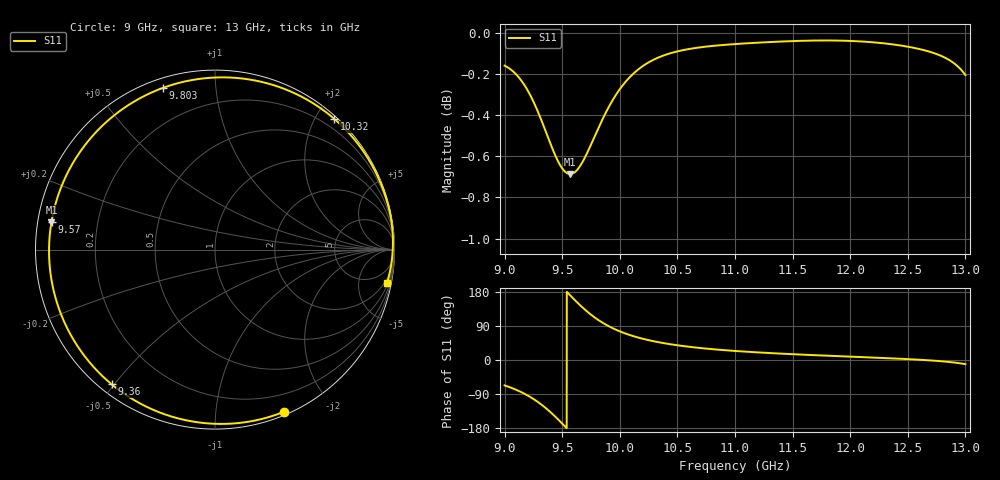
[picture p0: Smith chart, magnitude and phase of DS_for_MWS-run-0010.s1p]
! TOUCHSTONE file generated by CST DESIGN STUDIO
! Date and time: Tue Feb  4 15:43:13 2025
! Project name: C:\Work\MatlabApps\UnitCellOptimizationMatlab\CST\unitcell.cst
! Tree item: Tasks\Sweep1\SPara1\S-Parameters
! Header version: 2024
! Port assignment regex: !\s*Touchstone port\s*([0-9]+)\s*=\s*(CST MWS port|CST DES external port|CST DES block port)\s*(.+)\s* \(\"(.*)\"\)(\s*mode\s*([0-9]+))?.*
! Touchstone port assignment:
! Touchstone port 1 = CST DES external port 1 ("")
# GHz S MA R 50
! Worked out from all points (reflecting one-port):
!   4001 points, 9 GHz to 13 GHz, reference 50 ohm
!   lowest |S11| = -0.7 dB at 9.569 GHz (marker M1), VSWR 25.33, Z = 1.99 + j4.11 ohm
!   phase of S11 starts at -67 deg and turns -304 deg over the sweep
!   S11 on the Smith chart (normalised r, x): 9 GHz: 0.03, -1.51; 9.36 GHz: 0.03, -0.49; 9.57 GHz: 0.04, +0.08; 9.803 GHz: 0.04, +0.73; 10.32 GHz: 0.04, +2.26; 13 GHz: 1, -10
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9  0.9818 -67.0
9.103  0.9769 -79.0
9.214  0.9668 -96.1
9.291  0.9566 -111.3
9.36  0.9459 -127.5
9.426  0.9357 -145.5
9.464  0.9307 -156.7
9.5  0.927 -167.7
9.535  0.9248 -178.7
9.569  0.924 170.6
9.57  0.924 170.3
9.625  0.9259 153.4
9.689  0.9317 135.1
9.745  0.9387 120.8
9.803  0.9466 107.7
9.89  0.9578 91.4
10  0.969 75.6
10.071  0.9745 67.5
10.148  0.9792 60.2
10.323  0.986 47.7
10.5  0.9897 38.8
10.72  0.9921 31.0
11  0.9938 23.9
11.5  0.9954 15.3
12  0.9955 8.9
12.5  0.9923 2.4
12.795  0.9871 -3.4
13  0.9767 -11.0
